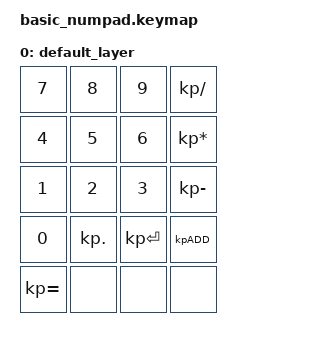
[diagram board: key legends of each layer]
#include <behaviors.dtsi>
#include <dt-bindings/zmk/keys.h>

/ {
    keymap {
        compatible = "zmk,keymap";

        default_layer {
            bindings = <
                &kp N7    &kp N8    &kp N9    &kp KP_DIVIDE
                &kp N4    &kp N5    &kp N6    &kp KP_MULTIPLY
                &kp N1    &kp N2    &kp N3    &kp KP_SUBTRACT
                &kp N0    &kp KP_DOT &kp KP_ENTER &kp KP_ADD
                &kp KP_EQUAL &none  &none  &none
            >;
        };
    };
};
